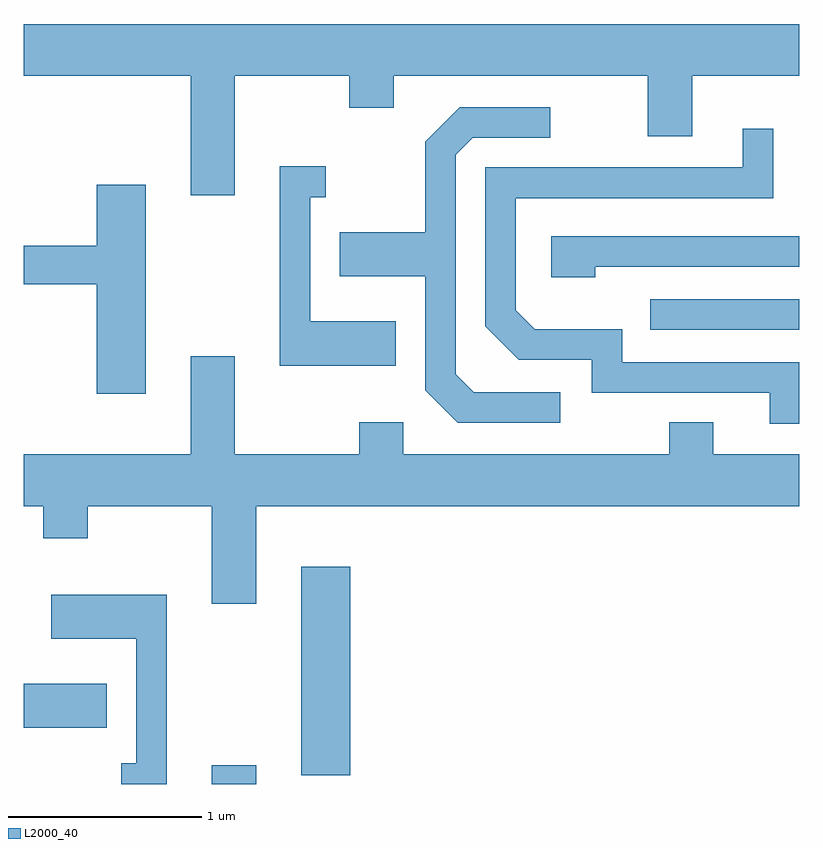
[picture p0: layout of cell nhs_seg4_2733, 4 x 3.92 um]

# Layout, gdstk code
import gdstk
lib = gdstk.Library(unit=1e-6, precision=1e-09)
def R(c, l, rs):  # rectangles x0, y0, x1, y1
    for r in rs: c.add(gdstk.rectangle(r[:2], r[2:], *l))
def P(c, l, *ps):  # polygons
    for p in ps: c.add(gdstk.Polygon(p, *l))
L2000_40 = (2000, 40)

nhs_seg4_2733 = lib.new_cell('nhs_seg4_2733')
R(nhs_seg4_2733, L2000_40, [(266.581,1279.982,266.809,1280.079), (267.041,1280.026,267.294,1281.104), (265.611,1280.271,266.039,1280.499), (268.843,1282.326,269.611,1282.484)])
P(nhs_seg4_2733, L2000_40, [(265.611,1283.636),(266.471,1283.636),(266.471,1283.021),(266.699,1283.021),(266.699,1283.636),(267.291,1283.636),(267.291,1283.471),(267.519,1283.471),(267.519,1283.636),(268.831,1283.636),(268.831,1283.326),(269.059,1283.326),(269.059,1283.636),(269.611,1283.636),(269.611,1283.904),(265.611,1283.904)],
  [(268.378,1282.004),(267.932,1282.004),(267.839,1282.097),(267.839,1283.229),(267.927,1283.316),(268.328,1283.316),(268.328,1283.474),(267.859,1283.474),(267.681,1283.297),(267.681,1282.829),(267.241,1282.829),(267.241,1282.601),(267.681,1282.601),(267.681,1282.014),(267.849,1281.846),(268.378,1281.846)],
  [(269.611,1282.159),(268.699,1282.159),(268.699,1282.329),(268.247,1282.329),(268.149,1282.427),(268.149,1283.006),(269.479,1283.006),(269.479,1283.363),(269.321,1283.363),(269.321,1283.164),(267.991,1283.164),(267.991,1282.344),(268.164,1282.171),(268.541,1282.171),(268.541,1282.001),(269.461,1282.001),(269.461,1281.841),(269.611,1281.841)],
  [(267.529,1282.369),(267.089,1282.369),(267.089,1283.011),(267.168,1283.011),(267.168,1283.169),(266.931,1283.169),(266.931,1282.141),(267.529,1282.141)],
  [(266.239,1283.074),(265.986,1283.074),(265.986,1282.759),(265.611,1282.759),(265.611,1282.561),(265.986,1282.561),(265.986,1281.996),(266.239,1281.996)],
  [(268.559,1282.651),(269.611,1282.651),(269.611,1282.809),(268.331,1282.809),(268.331,1282.596),(268.559,1282.596)],
  [(266.809,1281.416),(269.611,1281.416),(269.611,1281.684),(269.169,1281.684),(269.169,1281.849),(268.941,1281.849),(268.941,1281.684),(267.569,1281.684),(267.569,1281.849),(267.341,1281.849),(267.341,1281.684),(266.699,1281.684),(266.699,1282.189),(266.471,1282.189),(266.471,1281.684),(265.611,1281.684),(265.611,1281.416),(265.711,1281.416),(265.711,1281.251),(265.939,1281.251),(265.939,1281.416),(266.581,1281.416),(266.581,1280.911),(266.809,1280.911)],
  [(266.349,1280.959),(265.751,1280.959),(265.751,1280.731),(266.191,1280.731),(266.191,1280.089),(266.113,1280.089),(266.113,1279.982),(266.349,1279.982)])

lib.write_gds('nhs_seg4_2733.gds')
